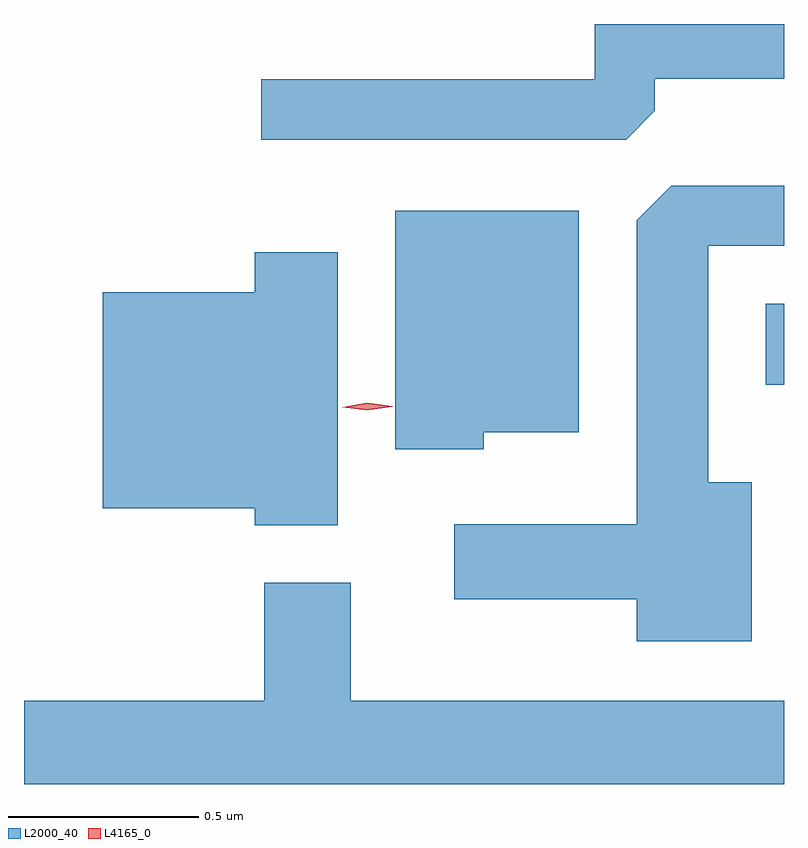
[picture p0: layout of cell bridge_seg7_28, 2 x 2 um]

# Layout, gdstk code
import gdstk
lib = gdstk.Library(unit=1e-6, precision=1e-09)
def R(c, l, rs):  # rectangles x0, y0, x1, y1
    for r in rs: c.add(gdstk.rectangle(r[:2], r[2:], *l))
def P(c, l, *ps):  # polygons
    for p in ps: c.add(gdstk.Polygon(p, *l))
L2000_40 = (2000, 40)
L4165_0 = (4165, 0)

bridge_seg7_28 = lib.new_cell('bridge_seg7_28')
R(bridge_seg7_28, L2000_40, [(1835.761,1746.496,1835.809,1746.709)])
P(bridge_seg7_28, L2000_40, [(1835.469,1747.217),(1835.469,1747.301),(1835.809,1747.301),(1835.809,1747.445),(1835.311,1747.445),(1835.311,1747.299),(1834.433,1747.299),(1834.433,1747.141),(1835.394,1747.141)],
  [(1835.724,1746.239),(1835.609,1746.239),(1835.609,1746.861),(1835.809,1746.861),(1835.809,1747.019),(1835.512,1747.019),(1835.421,1746.929),(1835.421,1746.129),(1834.941,1746.129),(1834.941,1745.931),(1835.421,1745.931),(1835.421,1745.821),(1835.724,1745.821)],
  [(1835.019,1746.371),(1835.269,1746.371),(1835.269,1746.954),(1834.786,1746.954),(1834.786,1746.326),(1835.019,1746.326)],
  [(1834.634,1746.844),(1834.416,1746.844),(1834.416,1746.739),(1834.016,1746.739),(1834.016,1746.171),(1834.416,1746.171),(1834.416,1746.126),(1834.634,1746.126)],
  [(1835.809,1745.664),(1834.669,1745.664),(1834.669,1745.974),(1834.441,1745.974),(1834.441,1745.664),(1833.809,1745.664),(1833.809,1745.445),(1835.809,1745.445)])
P(bridge_seg7_28, L4165_0, [(1834.712,1746.428),(1834.646,1746.436),(1834.645,1746.437),(1834.646,1746.437),(1834.712,1746.448),(1834.778,1746.439),(1834.779,1746.439),(1834.778,1746.438)])

lib.write_gds('bridge_seg7_28.gds')
